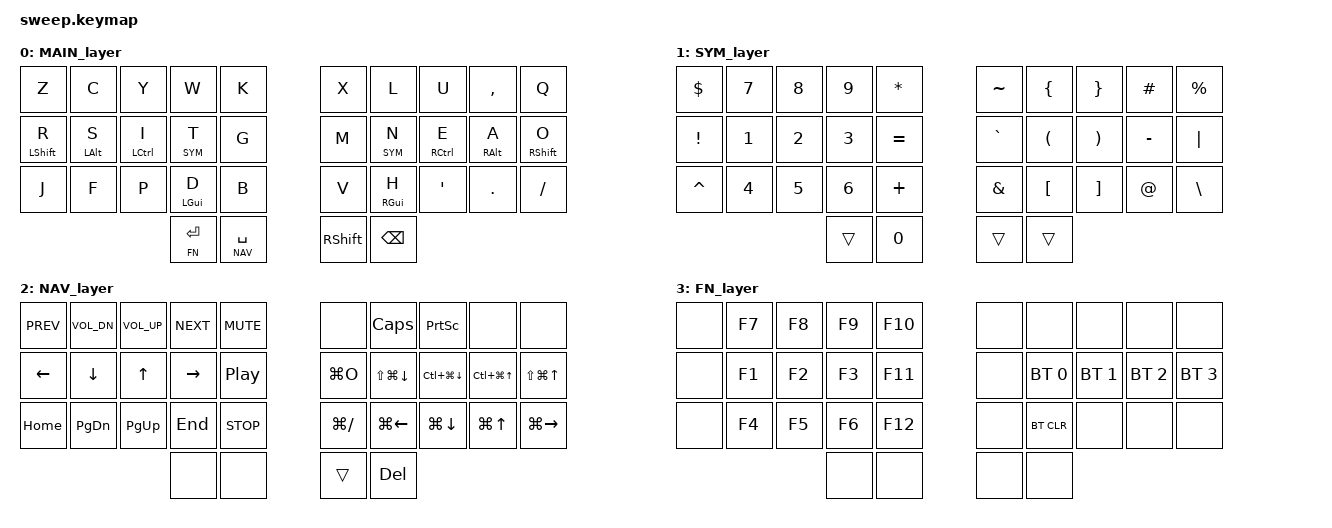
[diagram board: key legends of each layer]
/*
* Copyright (c) 2020 The ZMK Contributors
*
* SPDX-License-Identifier: MIT
*/

#include <behaviors.dtsi>
#include <dt-bindings/zmk/keys.h>
#include <dt-bindings/zmk/bt.h>

#define MAIN 0
#define SYM 1
#define NAV 2
#define FN 3

&mt {
    flavor = "tap-preferred";
    tapping_term_ms = <140>;
};

/ {
    combos {
        compatible = "zmk,combos";

        combo_esc {
            timeout-ms = <100>;
            key-positions = <21 22>;
            bindings = <&kp ESC>;
            layers = <0>;
        };

        combo_tab {
            timeout-ms = <100>;
            key-positions = <3 13>;
            bindings = <&kp TAB>;
            layers = <0>;
        };

        combo_next_tab {
            timeout-ms = <100>;
            key-positions = <2 4>;
            bindings = <&kp LC(TAB)>;
            layers = <0>;
        };

        combo_last_tab {
            timeout-ms = <100>;
            key-positions = <1 4>;
            bindings = <&kp LC(LS(TAB))>;
            layers = <0>;
        };

        combo_minus {
            timeout-ms = <100>;
            key-positions = <6 16>;
            bindings = <&kp MINUS>;
            layers = <0>;
        };

        combo_underscore {
            timeout-ms = <100>;
            key-positions = <7 17>;
            bindings = <&kp UNDERSCORE>;
            layers = <0>;
        };

        combo_colon {
            timeout-ms = <100>;
            key-positions = <1 2>;
            bindings = <&kp COLON>;
            layers = <0>;
        };

        combo_semicolon {
            timeout-ms = <100>;
            key-positions = <7 8>;
            bindings = <&kp SEMICOLON>;
            layers = <0>;
        };

        combo_launch {
            timeout-ms = <100>;
            key-positions = <2 3>;
            bindings = <&kp LG(FSLH)>;
            layers = <0>;
        };

        combo_quit {
            timeout-ms = <100>;
            key-positions = <5 7>;
            bindings = <&kp LG(Q)>;
            layers = <0>;
        };

        combo_forward_slash {
            timeout-ms = <100>;
            key-positions = <27 28>;
            bindings = <&kp BSLH>;
            layers = <0>;
        };
    };

    keymap {
        compatible = "zmk,keymap";

        MAIN_layer {
            bindings = <
                &kp Z       &kp C      &kp Y       &kp W        &kp K          &kp X     &kp L      &kp U       &kp CMMA   &kp Q 
                &mt LSHFT R &mt LALT S &mt LCTRL I &lt SYM T    &kp G          &kp M     &lt SYM N  &mt RCTRL E &mt RALT A &mt RSHFT O
                &kp J       &kp F      &kp P       &mt LGUI D   &kp B          &kp V     &mt RGUI H &kp APOS    &kp DOT    &kp FSLH
                                                   &lt FN ENTER &lt NAV SPC    &kp RSHFT &kp BKSP 
            >;
        };

        SYM_layer {
            bindings = <
                &kp DLLR  &kp N7 &kp N8 &kp N9 &kp STAR     &kp TILDE &kp LBRC &kp RBRC &kp HASH  &kp PRCNT 
                &kp EXCL  &kp N1 &kp N2 &kp N3 &kp EQUAL    &kp GRAVE &kp LPAR &kp RPAR &kp MINUS &kp PIPE
                &kp CARET &kp N4 &kp N5 &kp N6 &kp PLUS     &kp AMPS  &kp LBKT &kp RBKT &kp AT    &kp BSLH
                                        &trans &kp N0       &trans    &trans 
            >;
        };

        NAV_layer {
            bindings = <
                &kp C_PREV &kp C_VOL_DN &kp C_VOL_UP &kp C_NEXT &kp C_MUTE    &none        &kp CAPS         &kp PRINTSCREEN  &none          &none
                &kp LEFT   &kp DOWN     &kp UP       &kp RIGHT  &kp C_PP      &kp LG(O)    &kp LS(LG(DOWN)) &kp LC(LG(DOWN)) &kp LC(LG(UP)) &kp LS(LG(UP))
                &kp HOME   &kp PG_DN    &kp PG_UP    &kp END    &kp C_STOP    &kp LG(FSLH) &kp LG(LEFT)     &kp LG(DOWN)     &kp LG(UP)     &kp LG(RIGHT)
                                                     &none      &none         &trans       &kp DEL
            >;
        };	

        FN_layer {
            bindings = <
                &none &kp F7 &kp F8 &kp F9 &kp F10    &none &none        &none        &none        &none
                &none &kp F1 &kp F2 &kp F3 &kp F11    &none &bt BT_SEL 0 &bt BT_SEL 1 &bt BT_SEL 2 &bt BT_SEL 3 
                &none &kp F4 &kp F5 &kp F6 &kp F12    &none &bt BT_CLR   &none        &none        &none   
                                    &none  &none      &none &none
            >;
        };	
    };
};
